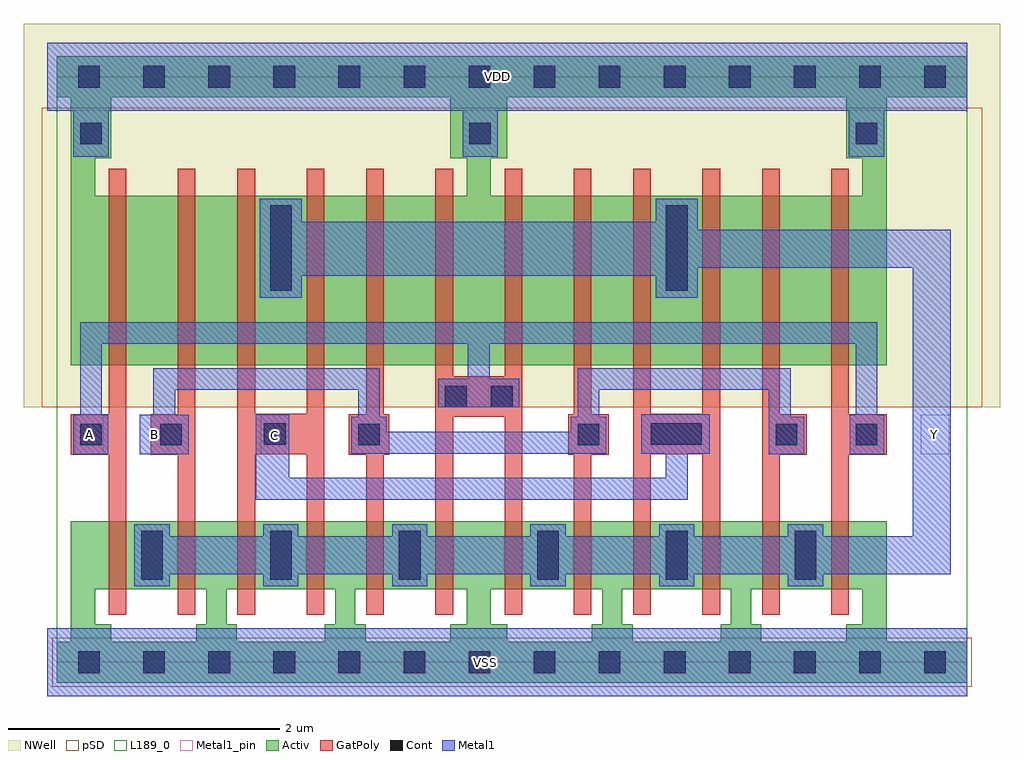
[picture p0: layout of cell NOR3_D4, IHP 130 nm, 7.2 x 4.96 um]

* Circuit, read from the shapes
.subckt NOR3_D4 A B C VDD VSS Y
XM1 Y A VSS VSS sg13_lv_nmos w=0.5u l=0.13u m=4
XM2 VSS B Y VSS sg13_lv_nmos w=0.5u l=0.13u m=4
XM3 Y C VSS VSS sg13_lv_nmos w=0.5u l=0.13u m=4
XM4 n1 A VDD VDD sg13_lv_pmos w=1.25u l=0.13u
XM5 n2 B n1 VDD sg13_lv_pmos w=1.25u l=0.13u
XM6 Y C n2 VDD sg13_lv_pmos w=1.25u l=0.13u
XM7 n3 C Y VDD sg13_lv_pmos w=1.25u l=0.13u
XM8 n4 B n3 VDD sg13_lv_pmos w=1.25u l=0.13u
XM9 VDD A n4 VDD sg13_lv_pmos w=1.25u l=0.13u
XM10 n5 A VDD VDD sg13_lv_pmos w=1.25u l=0.13u
XM11 n6 B n5 VDD sg13_lv_pmos w=1.25u l=0.13u
XM12 Y C n6 VDD sg13_lv_pmos w=1.25u l=0.13u
XM13 n7 C Y VDD sg13_lv_pmos w=1.25u l=0.13u
XM14 n8 B n7 VDD sg13_lv_pmos w=1.25u l=0.13u
XM15 VDD A n8 VDD sg13_lv_pmos w=1.25u l=0.13u
.ends

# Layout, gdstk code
import gdstk
lib = gdstk.Library(unit=1e-6, precision=1e-09)
def R(c, l, rs):  # rectangles x0, y0, x1, y1
    for r in rs: c.add(gdstk.rectangle(r[:2], r[2:], *l))
def A(c, l, x, y, w, h, nx, ny, dx, dy):  # array of equal rectangles
    R(c, l, [(x+i*dx, y+j*dy, x+i*dx+w, y+j*dy+h) for i in range(nx) for j in range(ny)])
def P(c, l, *ps):  # polygons
    for p in ps: c.add(gdstk.Polygon(p, *l))
Activ = (1, 0)
GatPoly = (5, 0)
Cont = (6, 0)
Metal1 = (8, 0)
Metal1_pin = (8, 2)
pSD = (14, 0)
NWell = (31, 0)
L189_0 = (189, 0)

nor3_d4 = lib.new_cell('NOR3_D4')
P(nor3_d4, Activ, [(0,-0.15),(0,0.15),(0.105,0.15),(0.105,0.54),(0.285,0.54),(0.285,0.28),(0.405,0.28),(0.405,0.15),(1.03,0.15),(1.03,0.28),(1.105,0.28),(1.105,0.54),(1.255,0.54),(1.255,0.28),(1.33,0.28),(1.33,0.15),(1.98,0.15),(1.98,0.28),(2.055,0.28),(2.055,0.54),(2.205,0.54),(2.205,0.28),(2.28,0.28),(2.28,0.15),(2.905,0.15),(2.905,0.28),(3.025,0.28),(3.025,0.54),(3.205,0.54),(3.205,0.28),(3.325,0.28),(3.325,0.15),(3.95,0.15),(3.95,0.28),(4.025,0.28),(4.025,0.54),(4.175,0.54),(4.175,0.28),(4.25,0.28),(4.25,0.15),(4.9,0.15),(4.9,0.28),(4.975,0.28),(4.975,0.54),(5.125,0.54),(5.125,0.28),(5.2,0.28),(5.2,0.15),(5.825,0.15),(5.825,0.28),(5.945,0.28),(5.945,0.54),(0.105,0.54),(0.105,1.04),(6.125,1.04),(6.125,0.15),(6.72,0.15),(6.72,-0.15)],
  [(0.105,2.19),(0.105,4.17),(0.405,4.17),(0.405,3.72),(0.285,3.72),(0.285,3.44),(3.025,3.44),(3.025,3.72),(2.905,3.72),(2.905,4.17),(3.325,4.17),(3.325,3.72),(3.205,3.72),(3.205,3.44),(5.945,3.44),(5.945,3.72),(5.825,3.72),(5.825,4.17),(0,4.17),(0,4.47),(6.72,4.47),(6.72,4.17),(6.125,4.17),(6.125,2.19)])
P(nor3_d4, GatPoly, [(0.385,0.35),(0.385,1.53),(0.105,1.53),(0.105,1.83),(0.385,1.83),(0.385,3.64),(0.515,3.64),(0.515,0.35)],
  [(0.895,0.35),(0.895,1.53),(0.695,1.53),(0.695,1.83),(0.895,1.83),(0.895,3.64),(1.025,3.64),(1.025,0.35)],
  [(1.335,0.35),(1.335,3.64),(1.465,3.64),(1.465,1.835),(1.845,1.835),(1.845,3.64),(1.975,3.64),(1.975,0.35),(1.845,0.35),(1.845,1.535),(1.465,1.535),(1.465,0.35)],
  [(2.285,0.35),(2.285,1.53),(2.155,1.53),(2.155,1.83),(2.285,1.83),(2.285,3.64),(2.415,3.64),(2.415,1.83),(2.455,1.83),(2.455,1.53),(2.415,1.53),(2.415,0.35)],
  [(2.795,0.35),(2.795,3.64),(2.925,3.64),(2.925,2.11),(3.305,2.11),(3.305,3.64),(3.435,3.64),(3.435,0.35),(3.305,0.35),(3.305,1.81),(2.925,1.81),(2.925,0.35)],
  [(3.815,0.35),(3.815,1.53),(3.775,1.53),(3.775,1.83),(3.815,1.83),(3.815,3.64),(3.945,3.64),(3.945,1.83),(4.075,1.83),(4.075,1.53),(3.945,1.53),(3.945,0.35)],
  [(4.255,0.35),(4.255,3.64),(4.385,3.64),(4.385,1.835),(4.765,1.835),(4.765,3.64),(4.895,3.64),(4.895,0.35),(4.765,0.35),(4.765,1.535),(4.385,1.535),(4.385,0.35)],
  [(5.205,0.35),(5.205,3.64),(5.335,3.64),(5.335,1.83),(5.535,1.83),(5.535,1.53),(5.335,1.53),(5.335,0.35)],
  [(5.715,0.35),(5.715,3.64),(5.845,3.64),(5.845,1.83),(6.125,1.83),(6.125,1.53),(5.845,1.53),(5.845,0.35)])
A(nor3_d4, Cont, 0.16, -0.08, 0.16, 0.16, 14, 2, 0.48, 4.32)
A(nor3_d4, Cont, 0.625, 0.61, 0.16, 0.36, 3, 1, 0.95, 0)
A(nor3_d4, Cont, 3.545, 0.61, 0.16, 0.36, 3, 1, 0.95, 0)
R(nor3_d4, Cont, [(0.175,1.6,0.335,1.76), (0.765,1.6,0.925,1.76), (2.225,1.6,2.385,1.76), (3.845,1.6,4.005,1.76), (5.305,1.6,5.465,1.76), (5.895,1.6,6.055,1.76), (1.53,1.605,1.69,1.765), (4.385,1.605,4.76,1.765), (2.865,1.88,3.025,2.04), (3.205,1.88,3.365,2.04), (1.575,2.74,1.735,3.37), (4.495,2.74,4.655,3.37), (0.175,3.82,0.335,3.98), (3.045,3.82,3.205,3.98), (5.895,3.82,6.055,3.98)])
R(nor3_d4, Metal1, [(-0.07,-0.25,6.72,0.25)])
P(nor3_d4, Metal1, [(1.47,1.2),(1.47,1.83),(1.715,1.83),(1.715,1.36),(4.495,1.36),(4.495,1.54),(4.315,1.54),(4.315,1.83),(4.82,1.83),(4.82,1.54),(4.655,1.54),(4.655,1.2)],
  [(0.615,1.535),(0.615,1.825),(0.715,1.825),(0.715,2.17),(2.385,2.17),(2.385,1.81),(2.435,1.81),(2.435,1.7),(3.795,1.7),(3.795,1.81),(3.845,1.81),(3.845,2.17),(5.415,2.17),(5.415,1.81),(5.515,1.81),(5.515,1.535),(5.255,1.535),(5.255,2.01),(4.005,2.01),(4.005,1.81),(4.055,1.81),(4.055,1.54),(2.175,1.54),(2.175,1.81),(2.225,1.81),(2.225,2.01),(0.875,2.01),(0.875,1.825),(0.975,1.825),(0.975,1.535)],
  [(0.125,1.535),(0.125,1.825),(0.175,1.825),(0.175,2.51),(6.055,2.51),(6.055,1.825),(6.105,1.825),(6.105,1.535),(5.85,1.535),(5.85,1.825),(5.895,1.825),(5.895,2.35),(3.195,2.35),(3.195,2.09),(3.415,2.09),(3.415,1.88),(2.815,1.88),(2.815,2.09),(3.035,2.09),(3.035,2.35),(0.335,2.35),(0.335,1.825),(0.38,1.825),(0.38,1.535)],
  [(0.575,0.56),(0.575,1.02),(0.835,1.02),(0.835,0.93),(1.525,0.93),(1.525,1.02),(1.785,1.02),(1.785,0.93),(2.475,0.93),(2.475,1.02),(2.735,1.02),(2.735,0.93),(3.495,0.93),(3.495,1.02),(3.755,1.02),(3.755,0.93),(4.445,0.93),(4.445,1.02),(4.705,1.02),(4.705,0.93),(5.395,0.93),(5.395,1.02),(5.655,1.02),(5.655,0.93),(6.315,0.93),(6.315,2.91),(4.73,2.91),(4.73,2.69),(4.42,2.69),(4.42,2.85),(1.81,2.85),(1.81,2.69),(1.5,2.69),(1.5,3.42),(1.81,3.42),(1.81,3.25),(4.42,3.25),(4.42,3.42),(4.73,3.42),(4.73,3.19),(6.595,3.19),(6.595,0.65),(5.655,0.65),(5.655,0.56),(5.395,0.56),(5.395,0.65),(4.705,0.65),(4.705,0.56),(4.445,0.56),(4.445,0.65),(3.755,0.65),(3.755,0.56),(3.495,0.56),(3.495,0.65),(2.735,0.65),(2.735,0.56),(2.475,0.56),(2.475,0.65),(1.785,0.65),(1.785,0.56),(1.525,0.56),(1.525,0.65),(0.835,0.65),(0.835,0.56)],
  [(0.125,3.73),(0.125,4.07),(-0.07,4.07),(-0.07,4.57),(6.72,4.57),(6.72,4.07),(6.105,4.07),(6.105,3.73),(5.845,3.73),(5.845,4.07),(3.255,4.07),(3.255,3.73),(2.995,3.73),(2.995,4.07),(0.385,4.07),(0.385,3.73)])
R(nor3_d4, Metal1_pin, [(-0.07,-0.25,6.72,0.25), (0.135,1.535,0.345,1.825), (0.615,1.535,0.825,1.825), (1.505,1.535,1.715,1.825), (6.375,1.535,6.585,1.825), (-0.07,4.07,6.72,4.57)])
R(nor3_d4, pSD, [(-0.03,-0.18,6.75,0.18), (-0.11,1.88,6.83,4.09)])
R(nor3_d4, NWell, [(-0.24,1.88,6.96,4.71)])
R(nor3_d4, L189_0, [(0,0,6.72,4.32)])
nor3_d4.add(gdstk.Label('Y', (6.48,1.68), layer=8, texttype=25))
nor3_d4.add(gdstk.Label('C', (1.61,1.675), layer=8, texttype=25))
nor3_d4.add(gdstk.Label('B', (0.72,1.68), layer=8, texttype=25))
nor3_d4.add(gdstk.Label('A', (0.24,1.68), layer=8, texttype=25))
nor3_d4.add(gdstk.Label('VDD', (3.255,4.32), layer=8, texttype=25))
nor3_d4.add(gdstk.Label('VSS', (3.165,0), layer=8, texttype=25))

lib.write_gds('NOR3_D4.gds')
